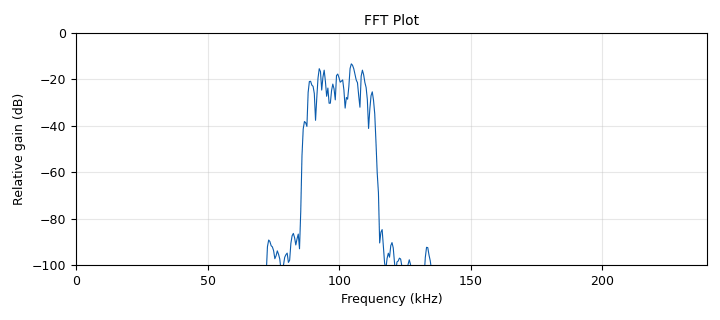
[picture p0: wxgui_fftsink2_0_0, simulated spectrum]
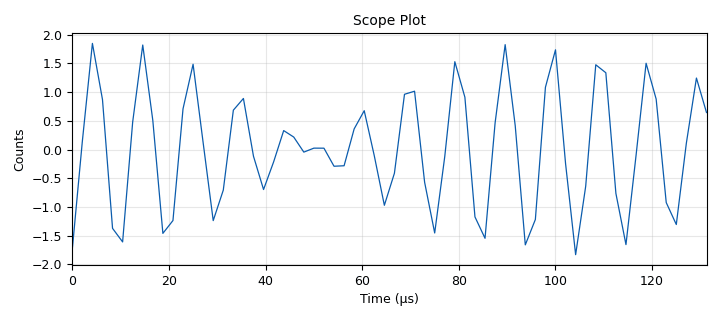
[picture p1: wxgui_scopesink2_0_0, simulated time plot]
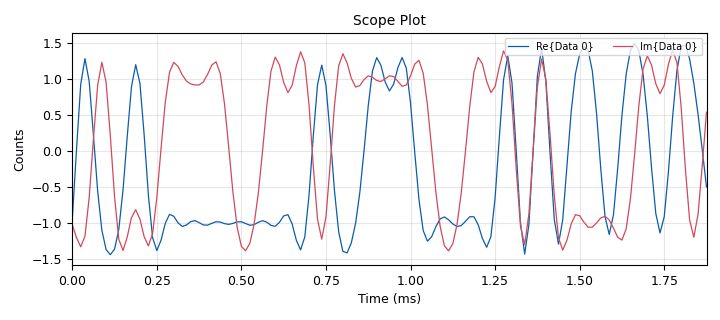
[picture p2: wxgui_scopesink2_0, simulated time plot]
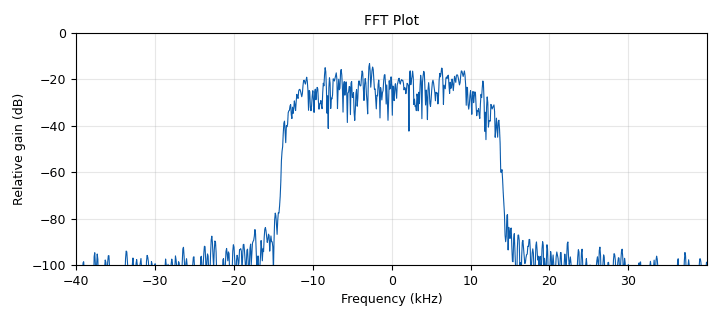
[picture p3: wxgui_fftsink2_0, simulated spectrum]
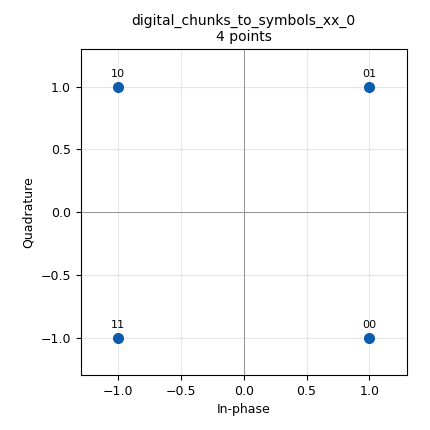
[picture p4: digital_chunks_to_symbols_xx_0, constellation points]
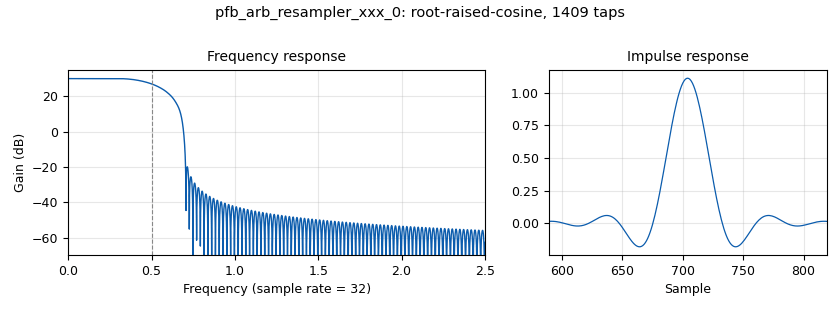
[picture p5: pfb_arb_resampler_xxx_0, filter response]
<?xml version='1.0' encoding='utf-8'?>
<flow_graph>
<block>
<key>options</key>
<param><key>id</key><value>top_block</value></param>
<param><key>generate_options</key><value>wx_gui</value></param>
<param><key>category</key><value>Custom</value></param>
</block>
<block>
<key>variable</key>
<param><key>id</key><value>tx_taps</value></param>
<param><key>value</key><value>firdes.root_raised_cosine(nfilts,nfilts,1.0,excess_bw,ntaps)</value></param>
</block>
<block>
<key>variable</key>
<param><key>id</key><value>sps</value></param>
<param><key>value</key><value>4</value></param>
</block>
<block>
<key>variable</key>
<param><key>id</key><value>sqrt_2</value></param>
<param><key>value</key><value>1.4142135623730951</value></param>
</block>
<block>
<key>variable</key>
<param><key>id</key><value>excess_bw</value></param>
<param><key>value</key><value>400e-3</value></param>
</block>
<block>
<key>variable</key>
<param><key>id</key><value>nfilts</value></param>
<param><key>value</key><value>32</value></param>
</block>
<block>
<key>variable</key>
<param><key>id</key><value>const_points</value></param>
<param><key>value</key><value>4</value></param>
</block>
<block>
<key>variable</key>
<param><key>id</key><value>samp_rate</value></param>
<param><key>value</key><value>20e3</value></param>
</block>
<block>
<key>variable</key>
<param><key>id</key><value>ntaps</value></param>
<param><key>value</key><value>11*nfilts*sps</value></param>
</block>
<block>
<key>blocks_multiply_xx</key>
<param><key>id</key><value>blocks_multiply_xx_0</value></param>
<param><key>type</key><value>complex</value></param>
</block>
<block>
<key>wxgui_fftsink2</key>
<param><key>id</key><value>wxgui_fftsink2_0_0</value></param>
<param><key>type</key><value>float</value></param>
<param><key>title</key><value>FFT Plot</value></param>
<param><key>samp_rate</key><value>samp_rate*sps*6</value></param>
<param><key>baseband_freq</key><value>0</value></param>
<param><key>y_per_div</key><value>10</value></param>
<param><key>y_divs</key><value>10</value></param>
<param><key>ref_level</key><value>0</value></param>
<param><key>ref_scale</key><value>2.0</value></param>
<param><key>fft_size</key><value>1024</value></param>
<param><key>fft_rate</key><value>15</value></param>
<param><key>peak_hold</key><value>False</value></param>
<param><key>average</key><value>False</value></param>
<param><key>avg_alpha</key><value>0</value></param>
<param><key>win</key><value>None</value></param>
<param><key>notebook</key><value>notebook_0,3</value></param>
<param><key>freqvar</key><value>None</value></param>
</block>
<block>
<key>rational_resampler_xxx</key>
<param><key>id</key><value>rational_resampler_xxx_0</value></param>
<param><key>type</key><value>ccc</value></param>
<param><key>interp</key><value>6</value></param>
<param><key>decim</key><value>1</value></param>
<param><key>taps</key><value></value></param>
</block>
<block>
<key>notebook</key>
<param><key>id</key><value>notebook_0</value></param>
<param><key>style</key><value>wx.NB_TOP</value></param>
<param><key>labels</key><value>['tab1', 'tab2', 'tab3','tab4']</value></param>
</block>
<block>
<key>blocks_complex_to_real</key>
<param><key>id</key><value>blocks_complex_to_real_0</value></param>
</block>
<block>
<key>wxgui_scopesink2</key>
<param><key>id</key><value>wxgui_scopesink2_0_0</value></param>
<param><key>type</key><value>float</value></param>
<param><key>title</key><value>Scope Plot</value></param>
<param><key>samp_rate</key><value>samp_rate*sps*6</value></param>
<param><key>v_scale</key><value>0</value></param>
<param><key>v_offset</key><value>0</value></param>
<param><key>t_scale</key><value>0</value></param>
<param><key>ac_couple</key><value>False</value></param>
<param><key>xy_mode</key><value>False</value></param>
<param><key>num_inputs</key><value>1</value></param>
<param><key>notebook</key><value>notebook_0,2</value></param>
<param><key>trig_mode</key><value>wxgui.TRIG_MODE_AUTO</value></param>
<param><key>y_axis_label</key><value>Counts</value></param>
</block>
<block>
<key>import</key>
<param><key>id</key><value>pi</value></param>
<param><key>import</key><value>from math import pi</value></param>
</block>
<block>
<key>import</key>
<param><key>id</key><value>filt</value></param>
<param><key>import</key><value>from gnuradio import filter</value></param>
</block>
<block>
<key>blocks_throttle</key>
<param><key>id</key><value>blocks_throttle_0</value></param>
<param><key>type</key><value>complex</value></param>
<param><key>samples_per_second</key><value>samp_rate*sps</value></param>
</block>
<block>
<key>pfb_arb_resampler_xxx</key>
<param><key>id</key><value>pfb_arb_resampler_xxx_0</value></param>
<param><key>type</key><value>ccf</value></param>
<param><key>rrate</key><value>sps</value></param>
<param><key>taps</key><value>tx_taps</value></param>
<param><key>nfilts</key><value>32</value></param>
<param><key>atten</key><value>100</value></param>
</block>
<block>
<key>analog_random_source_x</key>
<param><key>id</key><value>analog_random_source_x_0</value></param>
<param><key>type</key><value>byte</value></param>
<param><key>min</key><value>0</value></param>
<param><key>max</key><value>const_points</value></param>
<param><key>num_samps</key><value>1000</value></param>
<param><key>repeat</key><value>True</value></param>
</block>
<block>
<key>import</key>
<param><key>id</key><value>digital</value></param>
<param><key>import</key><value>from gnuradio import digital</value></param>
</block>
<block>
<key>digital_chunks_to_symbols_xx</key>
<param><key>id</key><value>digital_chunks_to_symbols_xx_0</value></param>
<param><key>in_type</key><value>byte</value></param>
<param><key>out_type</key><value>complex</value></param>
<param><key>symbol_table</key><value>((1-1j),(1+1j),(-1+1j),(-1-1j))</value></param>
<param><key>dimension</key><value>1</value></param>
</block>
<block>
<key>wxgui_scopesink2</key>
<param><key>id</key><value>wxgui_scopesink2_0</value></param>
<param><key>type</key><value>complex</value></param>
<param><key>title</key><value>Scope Plot</value></param>
<param><key>samp_rate</key><value>samp_rate*sps</value></param>
<param><key>v_scale</key><value>0</value></param>
<param><key>v_offset</key><value>0</value></param>
<param><key>t_scale</key><value>0</value></param>
<param><key>ac_couple</key><value>False</value></param>
<param><key>xy_mode</key><value>False</value></param>
<param><key>num_inputs</key><value>1</value></param>
<param><key>notebook</key><value>notebook_0,0</value></param>
<param><key>trig_mode</key><value>wxgui.TRIG_MODE_AUTO</value></param>
<param><key>y_axis_label</key><value>Counts</value></param>
</block>
<block>
<key>wxgui_fftsink2</key>
<param><key>id</key><value>wxgui_fftsink2_0</value></param>
<param><key>type</key><value>complex</value></param>
<param><key>title</key><value>FFT Plot</value></param>
<param><key>samp_rate</key><value>samp_rate*sps</value></param>
<param><key>baseband_freq</key><value>0</value></param>
<param><key>y_per_div</key><value>10</value></param>
<param><key>y_divs</key><value>10</value></param>
<param><key>ref_level</key><value>0</value></param>
<param><key>ref_scale</key><value>2.0</value></param>
<param><key>fft_size</key><value>1024</value></param>
<param><key>fft_rate</key><value>15</value></param>
<param><key>peak_hold</key><value>False</value></param>
<param><key>average</key><value>False</value></param>
<param><key>avg_alpha</key><value>0</value></param>
<param><key>win</key><value>None</value></param>
<param><key>notebook</key><value>notebook_0,1</value></param>
<param><key>freqvar</key><value>None</value></param>
</block>
<block>
<key>analog_sig_source_x</key>
<param><key>id</key><value>analog_sig_source_x_0</value></param>
<param><key>type</key><value>complex</value></param>
<param><key>samp_rate</key><value>samp_rate*6*sps</value></param>
<param><key>waveform</key><value>analog.GR_COS_WAVE</value></param>
<param><key>freq</key><value>100000</value></param>
<param><key>amp</key><value>1</value></param>
<param><key>offset</key><value>0</value></param>
</block>
<connection><source_block_id>analog_random_source_x_0</source_block_id><sink_block_id>digital_chunks_to_symbols_xx_0</sink_block_id><source_key>0</source_key><sink_key>0</sink_key></connection>
<connection><source_block_id>blocks_throttle_0</source_block_id><sink_block_id>wxgui_scopesink2_0</sink_block_id><source_key>0</source_key><sink_key>0</sink_key></connection>
<connection><source_block_id>digital_chunks_to_symbols_xx_0</source_block_id><sink_block_id>pfb_arb_resampler_xxx_0</sink_block_id><source_key>0</source_key><sink_key>0</sink_key></connection>
<connection><source_block_id>pfb_arb_resampler_xxx_0</source_block_id><sink_block_id>blocks_throttle_0</sink_block_id><source_key>0</source_key><sink_key>0</sink_key></connection>
<connection><source_block_id>analog_sig_source_x_0</source_block_id><sink_block_id>blocks_multiply_xx_0</sink_block_id><source_key>0</source_key><sink_key>1</sink_key></connection>
<connection><source_block_id>rational_resampler_xxx_0</source_block_id><sink_block_id>blocks_multiply_xx_0</sink_block_id><source_key>0</source_key><sink_key>0</sink_key></connection>
<connection><source_block_id>blocks_multiply_xx_0</source_block_id><sink_block_id>blocks_complex_to_real_0</sink_block_id><source_key>0</source_key><sink_key>0</sink_key></connection>
<connection><source_block_id>blocks_complex_to_real_0</source_block_id><sink_block_id>wxgui_scopesink2_0_0</sink_block_id><source_key>0</source_key><sink_key>0</sink_key></connection>
<connection><source_block_id>blocks_complex_to_real_0</source_block_id><sink_block_id>wxgui_fftsink2_0_0</sink_block_id><source_key>0</source_key><sink_key>0</sink_key></connection>
<connection><source_block_id>blocks_throttle_0</source_block_id><sink_block_id>rational_resampler_xxx_0</sink_block_id><source_key>0</source_key><sink_key>0</sink_key></connection>
<connection><source_block_id>blocks_throttle_0</source_block_id><sink_block_id>wxgui_fftsink2_0</sink_block_id><source_key>0</source_key><sink_key>0</sink_key></connection>
</flow_graph>
